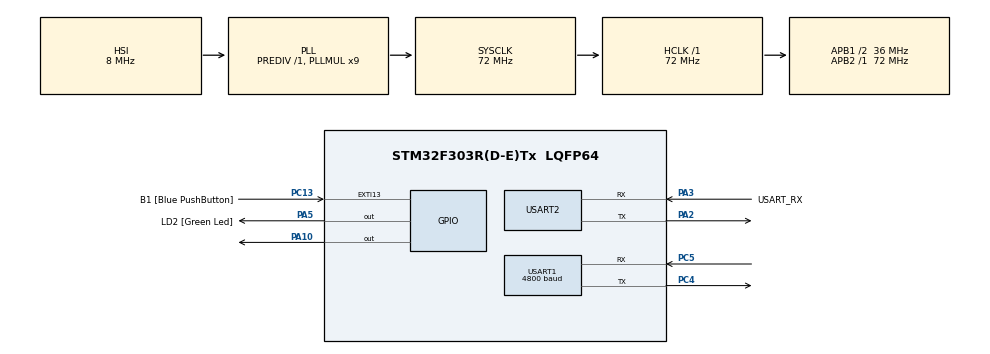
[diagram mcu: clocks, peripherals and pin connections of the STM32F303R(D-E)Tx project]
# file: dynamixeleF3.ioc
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Mcu.Family=STM32F3
Mcu.Name=STM32F303R(D-E)Tx
Mcu.Package=LQFP64
NVIC.PriorityGroup=NVIC_PRIORITYGROUP_0
PA10.Signal=GPIO_Output
PA13.GPIO_Label=TMS
PA13.Mode=Serial_Wire
PA13.Signal=SYS_JTMS-SWDIO
PA14.GPIO_Label=TCK
PA14.Mode=Serial_Wire
PA14.Signal=SYS_JTCK-SWCLK
PA2.Mode=Asynchronous
PA2.Signal=USART2_TX
PA3.GPIO_Label=USART_RX
PA3.GPIO_Mode=GPIO_MODE_AF_PP
PA3.GPIO_PuPd=GPIO_NOPULL
PA3.GPIO_Speed=GPIO_SPEED_FREQ_LOW
PA3.Mode=Asynchronous
PA3.Signal=USART2_RX
PA5.GPIO_Label=LD2 [Green Led]
PA5.GPIO_Mode=GPIO_MODE_OUTPUT_PP
PA5.GPIO_PuPd=GPIO_NOPULL
PA5.GPIO_Speed=GPIO_SPEED_FREQ_LOW
PA5.Signal=GPIO_Output
PB3.GPIO_Label=SWO
PB3.Signal=SYS_JTDO-TRACESWO
PC13.GPIO_Label=B1 [Blue PushButton]
PC13.GPIO_ModeDefaultEXTI=GPIO_MODE_IT_FALLING
PC13.Signal=GPXTI13
PC14-OSC32_IN.Mode=LSE-External-Oscillator
PC14-OSC32_IN.Signal=RCC_OSC32_IN
PC15-OSC32_OUT.Mode=LSE-External-Oscillator
PC15-OSC32_OUT.Signal=RCC_OSC32_OUT
PC4.Mode=Asynchronous
PC4.Signal=USART1_TX
PC5.Mode=Asynchronous
PC5.Signal=USART1_RX
PF0-OSC_IN.Mode=HSE-External-Clock-Source
PF0-OSC_IN.Signal=RCC_OSC_IN
PF1-OSC_OUT.Signal=RCC_OSC_OUT
ProjectManager.HeapSize=0x200
ProjectManager.StackSize=0x400
ProjectManager.TargetToolchain=TrueSTUDIO
RCC.AHBFreq_Value=72000000
RCC.APB1CLKDivider=RCC_HCLK_DIV2
RCC.APB1Freq_Value=36000000
RCC.APB1TimFreq_Value=72000000
RCC.APB2Freq_Value=72000000
RCC.APB2TimFreq_Value=72000000
RCC.CortexFreq_Value=72000000
RCC.HCLKFreq_Value=72000000
RCC.HSE_VALUE=8000000
RCC.HSI_VALUE=8000000
RCC.PLLM=8
RCC.PLLMUL=RCC_PLL_MUL9
RCC.PLLN=336
RCC.PLLP=RCC_PLLP_DIV4
RCC.PLLQ=7
RCC.RCC_PLLsource_Clock_Source_FROM_HSE=RCC_HSE_PREDIV_DIV2
RCC.SYSCLKFreq_VALUE=72000000
RCC.SYSCLKSourceVirtual=RCC_SYSCLKSOURCE_PLLCLK
RCC.USBFreq_Value=72000000
USART1.BaudRate=4800
USART1.VirtualMode-Asynchronous=VM_ASYNC
USART1.WordLength=WORDLENGTH_8B
USART2.VirtualMode-Asynchronous=VM_ASYNC
board=NUCLEO-F303RE

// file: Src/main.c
/**
  ******************************************************************************
  * @file           : main.c
  * @brief          : Main program body
  ******************************************************************************
  ** This notice applies to any and all portions of this file
  * that are not between comment pairs USER CODE BEGIN and
  * USER CODE END. Other portions of this file, whether
  * inserted by the user or by software development tools
  * are owned by their respective copyright owners.
  *
  * COPYRIGHT(c) 2018 STMicroelectronics
  *
  * Redistribution and use in source and binary forms, with or without modification,
  * are permitted provided that the following conditions are met:
  *   1. Redistributions of source code must retain the above copyright notice,
  *      this list of conditions and the following disclaimer.
  *   2. Redistributions in binary form must reproduce the above copyright notice,
  *      this list of conditions and the following disclaimer in the documentation
  *      and/or other materials provided with the distribution.
  *   3. Neither the name of STMicroelectronics nor the names of its contributors
  *      may be used to endorse or promote products derived from this software
  *      without specific prior written permission.
  *
  * THIS SOFTWARE IS PROVIDED BY THE COPYRIGHT HOLDERS AND CONTRIBUTORS "AS IS"
  * AND ANY EXPRESS OR IMPLIED WARRANTIES, INCLUDING, BUT NOT LIMITED TO, THE
  * IMPLIED WARRANTIES OF MERCHANTABILITY AND FITNESS FOR A PARTICULAR PURPOSE ARE
  * DISCLAIMED. IN NO EVENT SHALL THE COPYRIGHT HOLDER OR CONTRIBUTORS BE LIABLE
  * FOR ANY DIRECT, INDIRECT, INCIDENTAL, SPECIAL, EXEMPLARY, OR CONSEQUENTIAL
  * DAMAGES (INCLUDING, BUT NOT LIMITED TO, PROCUREMENT OF SUBSTITUTE GOODS OR
  * SERVICES; LOSS OF USE, DATA, OR PROFITS; OR BUSINESS INTERRUPTION) HOWEVER
  * CAUSED AND ON ANY THEORY OF LIABILITY, WHETHER IN CONTRACT, STRICT LIABILITY,
  * OR TORT (INCLUDING NEGLIGENCE OR OTHERWISE) ARISING IN ANY WAY OUT OF THE USE
  * OF THIS SOFTWARE, EVEN IF ADVISED OF THE POSSIBILITY OF SUCH DAMAGE.
  *
  ******************************************************************************
  */
#include "main.h"
#include "stm32f3xx_hal.h"

UART_HandleTypeDef huart1;
UART_HandleTypeDef huart2;

/* USER CODE BEGIN PV */
/* Private variables ---------------------------------------------------------*/

/* USER CODE END PV */

void SystemClock_Config(void);
static void MX_GPIO_Init(void);
static void MX_USART1_UART_Init(void);
static void MX_USART2_UART_Init(void);

/* USER CODE BEGIN PFP */
/* Private function prototypes -----------------------------------------------*/

/* USER CODE END PFP */

int main(void)
{

  /* MCU Configuration----------------------------------------------------------*/

  /* Reset of all peripherals, Initializes the Flash interface and the Systick. */
  HAL_Init();

  /* Configure the system clock */
  SystemClock_Config();

  /* Initialize all configured peripherals */
  MX_GPIO_Init();
  MX_USART1_UART_Init();
  MX_USART2_UART_Init();

  /* Infinite loop */
  /* USER CODE BEGIN WHILE */
  int i =0;
  int bauds[10]={1000000,500000,400000,250000,200000,115200,57600,19200,9600};
  uint8_t sent[8];
  sent[6]=0x01;
  while (1)
  {
	  //huart2.Init.BaudRate = bauds[0];
	  HAL_Delay(1000);
//	  i++;
//	  HAL_GPIO_TogglePin(GPIOA, GPIO_PIN_2);
//	  HAL_GPIO_TogglePin(GPIOA, GPIO_PIN_10);
	  sent[0] = 0xFF;
	  sent[1] = 0xFF;
	  sent[2] = 0xFE; //ID
	  sent[3] = 0x04; // Length
	  sent[4] = 0x03; //Instruction?
	  sent[5] = 0x19;//Value1?->Adress
	  sent[6] = sent[6] ^ 0x01;
	  sent[7] = ~(sent[2] + sent[3] + sent[4] + sent[5]+sent[6]); // checksum
	  HAL_UART_Transmit(&huart1,&sent,8,100);
	  HAL_UART_Transmit(&huart2,&sent,8,100);
	  //HAL_UART_Transmit(&huart6,&sent,9,100);
	  if (i==10)i=0;

  /* USER CODE END WHILE */

  }

}

void SystemClock_Config(void)
{

  RCC_OscInitTypeDef RCC_OscInitStruct;
  RCC_ClkInitTypeDef RCC_ClkInitStruct;
  RCC_PeriphCLKInitTypeDef PeriphClkInit;

    /**Initializes the CPU, AHB and APB busses clocks
    */
  RCC_OscInitStruct.OscillatorType = RCC_OSCILLATORTYPE_HSI;
  RCC_OscInitStruct.HSIState = RCC_HSI_ON;
  RCC_OscInitStruct.HSICalibrationValue = 16;
  RCC_OscInitStruct.PLL.PLLState = RCC_PLL_ON;
  RCC_OscInitStruct.PLL.PLLSource = RCC_PLLSOURCE_HSI;
  RCC_OscInitStruct.PLL.PLLMUL = RCC_PLL_MUL9;
  RCC_OscInitStruct.PLL.PREDIV = RCC_PREDIV_DIV1;
  if (HAL_RCC_OscConfig(&RCC_OscInitStruct) != HAL_OK)
  {
    _Error_Handler(__FILE__, __LINE__);
  }

    /**Initializes the CPU, AHB and APB busses clocks
    */
  RCC_ClkInitStruct.ClockType = RCC_CLOCKTYPE_HCLK|RCC_CLOCKTYPE_SYSCLK
                              |RCC_CLOCKTYPE_PCLK1|RCC_CLOCKTYPE_PCLK2;
  RCC_ClkInitStruct.SYSCLKSource = RCC_SYSCLKSOURCE_PLLCLK;
  RCC_ClkInitStruct.AHBCLKDivider = RCC_SYSCLK_DIV1;
  RCC_ClkInitStruct.APB1CLKDivider = RCC_HCLK_DIV2;
  RCC_ClkInitStruct.APB2CLKDivider = RCC_HCLK_DIV1;

  if (HAL_RCC_ClockConfig(&RCC_ClkInitStruct, FLASH_LATENCY_2) != HAL_OK)
  {
    _Error_Handler(__FILE__, __LINE__);
  }

  PeriphClkInit.PeriphClockSelection = RCC_PERIPHCLK_USART1|RCC_PERIPHCLK_USART2;
  PeriphClkInit.Usart1ClockSelection = RCC_USART1CLKSOURCE_PCLK2;
  PeriphClkInit.Usart2ClockSelection = RCC_USART2CLKSOURCE_PCLK1;
  if (HAL_RCCEx_PeriphCLKConfig(&PeriphClkInit) != HAL_OK)
  {
    _Error_Handler(__FILE__, __LINE__);
  }

    /**Configure the Systick interrupt time
    */
  HAL_SYSTICK_Config(HAL_RCC_GetHCLKFreq()/1000);

    /**Configure the Systick
    */
  HAL_SYSTICK_CLKSourceConfig(SYSTICK_CLKSOURCE_HCLK);

  /* SysTick_IRQn interrupt configuration */
  HAL_NVIC_SetPriority(SysTick_IRQn, 0, 0);
}

/* USART1 init function */
static void MX_USART1_UART_Init(void)
{

  huart1.Instance = USART1;
  huart1.Init.BaudRate = 1000000;
  huart1.Init.WordLength = UART_WORDLENGTH_8B;
  huart1.Init.StopBits = UART_STOPBITS_1;
  huart1.Init.Parity = UART_PARITY_NONE;
  huart1.Init.Mode = UART_MODE_TX_RX;
  huart1.Init.HwFlowCtl = UART_HWCONTROL_NONE;
  huart1.Init.OverSampling = UART_OVERSAMPLING_16;
  huart1.Init.OneBitSampling = UART_ONE_BIT_SAMPLE_DISABLE;
  huart1.AdvancedInit.AdvFeatureInit = UART_ADVFEATURE_NO_INIT;
  if (HAL_UART_Init(&huart1) != HAL_OK)
  {
    _Error_Handler(__FILE__, __LINE__);
  }

}

/* USART2 init function */
static void MX_USART2_UART_Init(void)
{

  huart2.Instance = USART2;
  huart2.Init.BaudRate = 1000000;
  huart2.Init.WordLength = UART_WORDLENGTH_7B;
  huart2.Init.StopBits = UART_STOPBITS_1;
  huart2.Init.Parity = UART_PARITY_NONE;
  huart2.Init.Mode = UART_MODE_TX_RX;
  huart2.Init.HwFlowCtl = UART_HWCONTROL_NONE;
  huart2.Init.OverSampling = UART_OVERSAMPLING_16;
  huart2.Init.OneBitSampling = UART_ONE_BIT_SAMPLE_DISABLE;
  huart2.AdvancedInit.AdvFeatureInit = UART_ADVFEATURE_NO_INIT;
  if (HAL_UART_Init(&huart2) != HAL_OK)
  {
    _Error_Handler(__FILE__, __LINE__);
  }

}

/** Configure pins as
        * Analog
        * Input
        * Output
        * EVENT_OUT
        * EXTI
*/
static void MX_GPIO_Init(void)
{

  GPIO_InitTypeDef GPIO_InitStruct;

  /* GPIO Ports Clock Enable */
  __HAL_RCC_GPIOC_CLK_ENABLE();
  __HAL_RCC_GPIOF_CLK_ENABLE();
  __HAL_RCC_GPIOA_CLK_ENABLE();
  __HAL_RCC_GPIOB_CLK_ENABLE();

  /*Configure GPIO pin Output Level */
  HAL_GPIO_WritePin(GPIOA, LD2_Pin|GPIO_PIN_10, GPIO_PIN_RESET);

  /*Configure GPIO pin : B1_Pin */
  GPIO_InitStruct.Pin = B1_Pin;
  GPIO_InitStruct.Mode = GPIO_MODE_IT_FALLING;
  GPIO_InitStruct.Pull = GPIO_NOPULL;
  HAL_GPIO_Init(B1_GPIO_Port, &GPIO_InitStruct);

  /*Configure GPIO pins : LD2_Pin PA10 */
  GPIO_InitStruct.Pin = LD2_Pin|GPIO_PIN_10;
  GPIO_InitStruct.Mode = GPIO_MODE_OUTPUT_PP;
  GPIO_InitStruct.Pull = GPIO_NOPULL;
  GPIO_InitStruct.Speed = GPIO_SPEED_FREQ_LOW;
  HAL_GPIO_Init(GPIOA, &GPIO_InitStruct);

}

void _Error_Handler(char *file, int line)
{
  while(1)
  {
  }
}

/************************ (C) COPYRIGHT STMicroelectronics *****END OF FILE****/
